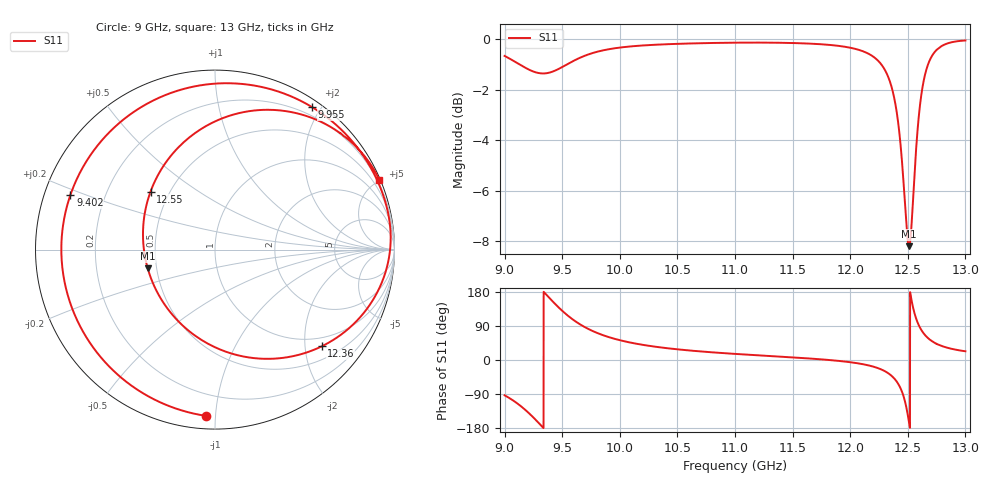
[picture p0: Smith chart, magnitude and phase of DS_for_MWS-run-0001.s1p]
! TOUCHSTONE file generated by CST DESIGN STUDIO
! Date and time: Tue Feb  4 16:12:14 2025
! Project name: C:\Work\MatlabApps\UnitCellOptimizationMatlab\CST\unitcell.cst
! Tree item: Tasks\Sweep1\SPara1\S-Parameters
! Header version: 2024
! Port assignment regex: !\s*Touchstone port\s*([0-9]+)\s*=\s*(CST MWS port|CST DES external port|CST DES block port)\s*(.+)\s* \(\"(.*)\"\)(\s*mode\s*([0-9]+))?.*
! Touchstone port assignment:
! Touchstone port 1 = CST DES external port 1 ("")
# GHz S MA R 50
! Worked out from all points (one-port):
!   4001 points, 9 GHz to 13 GHz, reference 50 ohm
!   lowest |S11| = -8.2 dB at 12.51 GHz (marker M1), VSWR 2.27, Z = 22.3 - j5.43 ohm
!   |S11| at or under -10 dB: nowhere
!   S11 on the Smith chart (normalised r, x): 9 GHz: 0.07, -0.94; 9.402 GHz: 0.08, +0.18; 9.955 GHz: 0.09, +1.88; 12.36 GHz: 0.78, -2.37; 12.55 GHz: 0.39, +0.33; 13 GHz: 0.06, +4.91
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9  0.9276 -93.2
9.099  0.9009 -112.1
9.188  0.8768 -133.9
9.302  0.8573 -168.1
9.402  0.8612 159.4
9.5  0.8817 129.9
9.581  0.9026 109.4
9.672  0.9235 91.0
9.806  0.9457 71.1
9.955  0.9605 55.9
10  0.9636 52.3
10.5  0.9802 28.2
11  0.9854 16.1
11.5  0.9838 6.9
12  0.9629 -5.8
12.234  0.9112 -20.7
12.361  0.8023 -42.2
12.443  0.5977 -78.7
12.472  0.4851 -105.0
12.5  0.3984 -145.0
12.511  0.3892 -164.6
12.546  0.4829 138.1
12.579  0.6366 103.7
12.612  0.7604 82.0
12.663  0.8742 61.4
12.719  0.9346 47.9
12.829  0.9791 33.6
13  0.9954 23.0
